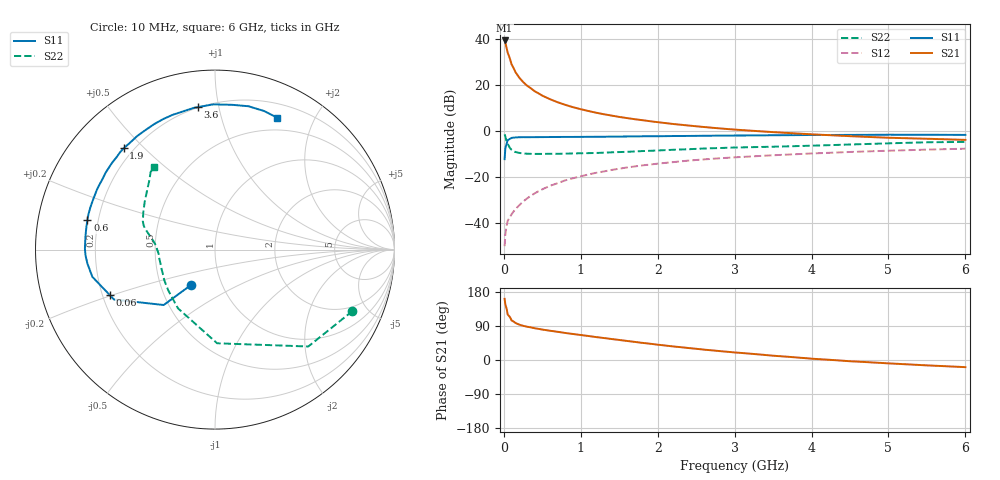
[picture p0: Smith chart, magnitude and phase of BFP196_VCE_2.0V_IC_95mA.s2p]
! Infineon Technologies  Discrete & RF Semiconductors
! BFP196
! VCE =  2.0 V,  IC =  95 mA
! Common Emitter S-Parameters:  Jan 2017
# GHz  S  MA  R  50
!  f  S11  S21  S12  S22
! GHz  MAG  ANG  MAG  ANG  MAG  ANG  MAG  ANG
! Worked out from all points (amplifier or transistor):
!   77 points, 10 MHz to 6 GHz, reference 50 ohm
!   highest |S21| = 39.2 dB at 10 MHz (marker M1)
!   |S21| within 3 dB of that: start of sweep to 34.14 MHz
!   unconditionally stable (mu >= 1): 314.8 MHz to 2.577 GHz
!   at 130 MHz: K = 0.81, MSG = 31.0 dB, |S12| = -34.9 dB
!   at 2.2 GHz: K = 1.01, MAG = 7.6 dB, |S12| = -13.6 dB
!   at 6 GHz: K = 0.98, MSG = 1.9 dB, |S12| = -7.8 dB
!   S11 on the Smith chart (normalised r, x): 10 MHz: 0.71, -0.30; 60 MHz: 0.23, -0.20; 600 MHz: 0.16, +0.11; 1.9 GHz: 0.16, +0.44; 3.6 GHz: 0.20, +0.87; 6 GHz: 0.35, +1.52
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0.01  0.2413 -124.4  91.61 161.5  0.0031 74.9  0.8387 -24.1
0.02  0.4207 -132.8  81.5 146.0  0.0057 68.6  0.7494 -46.1
0.05  0.6277 -153.7  49.64 119.9  0.011 52.2  0.522 -88.7
0.06  0.639 -156.7  45.08 118.0  0.0118 53.9  0.4839 -93.8
0.1  0.7 -167.5  27.75 104.3  0.0152 58.7  0.3867 -122.3
0.15  0.715 -173.7  18.91 97.8  0.0197 61.2  0.3455 -138.9
0.2  0.7219 -177.3  14.29 93.4  0.024 66.2  0.3301 -148.8
0.25  0.7248 179.7  11.48 90.3  0.0288 67.8  0.3206 -155.0
0.3  0.7245 177.4  9.586 87.9  0.0336 68.6  0.3168 -159.8
0.4  0.7256 173.7  7.229 83.8  0.0434 70.7  0.3136 -165.9
0.5  0.7274 170.2  5.79 80.3  0.0533 70.7  0.3137 -169.9
0.6  0.7297 167.1  4.845 77.2  0.0636 70.5  0.3156 -173.2
0.8  0.7332 161.4  3.646 71.3  0.0837 69.1  0.3179 -177.6
1.1  0.7379 153.0  2.681 63.3  0.1122 65.7  0.326 177.6
1.5  0.747 142.5  1.997 52.9  0.1497 59.7  0.3437 172.7
1.9  0.7601 132.0  1.611 43.0  0.1841 53.8  0.3663 168.8
2.1  0.7629 126.8  1.468 38.2  0.2002 50.7  0.3789 166.9
3.1  0.7877 105.7  1.032 18.4  0.2696 36.0  0.4351 157.4
3.6  0.7994 96.9  0.913 9.9  0.2984 29.7  0.4541 151.2
4.1  0.8087 89.2  0.821 2.2  0.3252 23.5  0.4784 144.4
5.1  0.8192 75.6  0.697 -9.9  0.372 11.6  0.538 132.6
6  0.8123 64.8  0.633 -18.9  0.4074 1.5  0.5716 126.3
